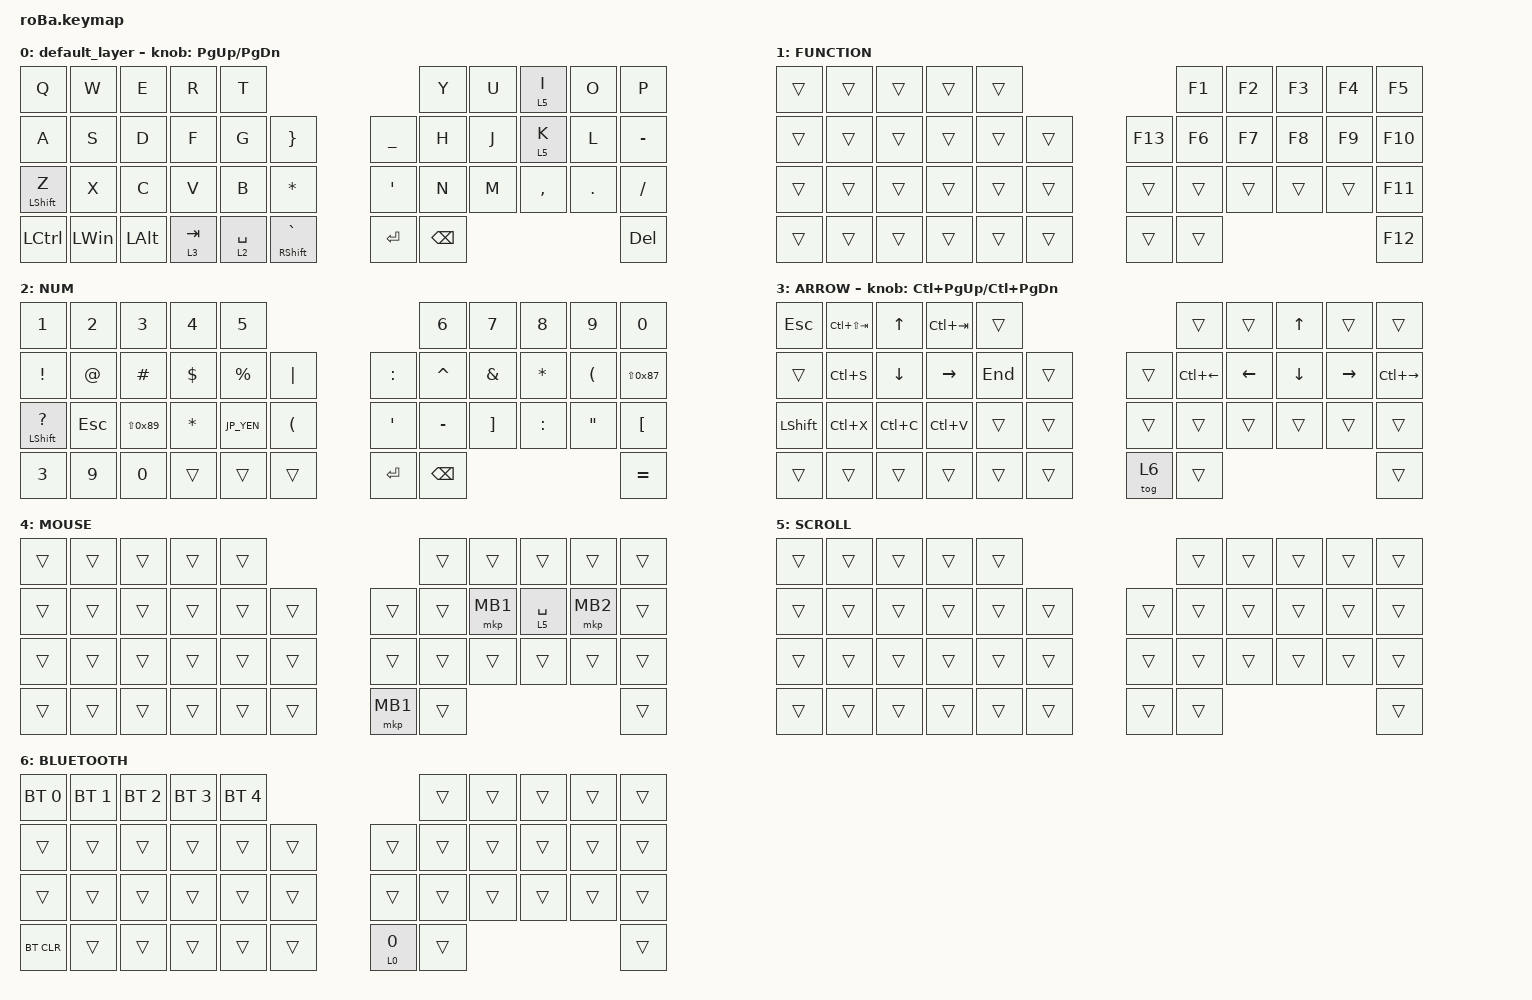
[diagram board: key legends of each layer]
#include <behaviors.dtsi>
#include <dt-bindings/zmk/bt.h>
#include <dt-bindings/zmk/keys.h>
#include <dt-bindings/zmk/pointing.h>

// OS設定を日本語キーボードのまま使用するための変換定義

#define JP_DQUOTE       AT                // "
#define JP_AMPERSAND    CARET             // &
#define JP_QUOTE        AMPERSAND         // '
#define JP_EQUAL        UNDER             // =
#define JP_CARET        EQUAL             // ^
#define JP_YEN          0x89              // ¥
#define JP_PLUS         COLON             // +
#define JP_TILDE        PLUS              // ~
#define JP_PIPE         LS(0x89)          // |
#define JP_AT           LEFT_BRACKET      // @
#define JP_COLON        SINGLE_QUOTE      // :
#define JP_ASTERISK     DOUBLE_QUOTES     // *
#define JP_BACKQUOTE    LEFT_BRACE        // `
#define JP_UNDERSCORE   LS(0x87)          // _
#define JP_LBRACKET     RIGHT_BRACKET     // [
#define JP_RBRACKET     BACKSLASH         // ]
#define JP_LPAREN       ASTERISK          // (
#define JP_RPAREN       LEFT_PARENTHESIS  // )
#define JP_LBRACE       RIGHT_BRACE       // {
#define JP_RBRACE       PIPE              // }
#define JP_KANA         LANGUAGE_1        // かな
#define JP_EISU         LANGUAGE_2        // 英数
#define JP_HANZEN       GRAVE             // 半角/全角

&mt {
    flavor = "balanced";
    quick-tap-ms = <0>;
};

&trackball {
    automouse-layer = <4>;
    scroll-layers = <5>;

    arrows {
        layers = <3>;
        bindings =
            <&kp RIGHT_ARROW>,
            <&kp LEFT_ARROW>,
            <&kp UP_ARROW>,
            <&kp DOWN_ARROW>;

        tick = <10>;
        wait-ms = <5>;
        tap-ms = <5>;
    };
};

/ {
    combos {
        compatible = "zmk,combos";

        tab {
            bindings = <&kp TAB>;
            key-positions = <11 12>;
        };

        shift_tab {
            bindings = <&kp LS(TAB)>;
            key-positions = <12 13>;
        };

        muhennkann {
            bindings = <&to_layer_0 INT_MUHENKAN>;
            key-positions = <11 10>;
        };

        double_quotation {
            bindings = <&kp DOUBLE_QUOTES>;
            key-positions = <20 21>;
        };

        eq {
            bindings = <&kp EQUAL>;
            key-positions = <24 25>;
        };
    };

    macros {
        to_layer_0: to_layer_0 {
            compatible = "zmk,behavior-macro-one-param";
            #binding-cells = <1>;
            bindings = <&to 0 &macro_param_1to1 &kp MACRO_PLACEHOLDER>;
            label = "TO_LAYER_0";
        };
    };

    behaviors {
        lt_to_layer_0: lt_to_layer_0 {
            compatible = "zmk,behavior-hold-tap";
            label = "LAYER_TAP_TO_0";
            bindings = <&mo>, <&to_layer_0>;

            #binding-cells = <2>;
            tapping-term-ms = <200>;
        };
    };

    keymap {
        compatible = "zmk,keymap";

        default_layer {
            bindings = <
&kp Q             &kp W         &kp E         &kp R      &kp T                                                     &kp Y          &kp U  &lt 5 I    &kp O    &kp P
&kp A             &kp S         &kp D         &kp F      &kp G        &kp JP_LBRACE                  &kp JP_EQUAL  &kp H          &kp J  &lt 5 K    &kp L    &kp MINUS
&mt LEFT_SHIFT Z  &kp X         &kp C         &kp V      &kp B        &kp JP_LPAREN                  &kp JP_COLON  &kp N          &kp M  &kp COMMA  &kp DOT  &kp SLASH
&kp LCTRL         &kp LEFT_WIN  &kp LEFT_ALT  &lt 3 TAB  &lt 2 SPACE  &mt RIGHT_SHIFT JP_HANZEN      &kp ENTER     &kp BACKSPACE                             &kp DELETE
            >;

            sensor-bindings = <&inc_dec_kp PG_UP PAGE_DOWN>;
        };

        FUNCTION {
            bindings = <
&trans  &trans  &trans  &trans  &trans                       &kp F1  &kp F2  &kp F3  &kp F4  &kp F5
&trans  &trans  &trans  &trans  &trans  &trans      &kp F13  &kp F6  &kp F7  &kp F8  &kp F9  &kp F10
&trans  &trans  &trans  &trans  &trans  &trans      &trans   &trans  &trans  &trans  &trans  &kp F11
&trans  &trans  &trans  &trans  &trans  &trans      &trans   &trans                          &kp F12
            >;
        };

        NUM {
            bindings = <
&kp NUMBER_1             &kp NUMBER_2   &kp NUMBER_3  &kp NUMBER_4   &kp NUMBER_5                                   &kp NUMBER_6      &kp NUMBER_7       &kp NUMBER_8   &kp NUMBER_9     &kp NUMBER_0
&kp EXCLAMATION          &kp JP_DQUOTE  &kp HASH      &kp DOLLAR     &kp PERCENT   &kp JP_RBRACE      &kp JP_PLUS   &kp JP_AMPERSAND  &kp JP_QUOTE       &kp JP_LPAREN  &kp JP_RPAREN    &kp JP_UNDERSCORE
&mt LEFT_SHIFT QUESTION  &kp ESCAPE     &kp JP_PIPE   &kp JP_LPAREN  &kp JP_YEN    &kp JP_RPAREN      &kp JP_COLON  &kp MINUS         &kp RIGHT_BRACKET  &kp JP_PLUS    &kp JP_ASTERISK  &kp JP_AT
&kp NUMBER_3             &kp NUMBER_9   &kp NUMBER_0  &trans         &trans        &trans             &kp ENTER     &kp BACKSPACE                                                        &kp JP_CARET
            >;
        };

        ARROW {
            bindings = <
&kp ESCAPE      &kp LC(LS(TAB))  &kp UP_ARROW    &kp LC(TAB)      &trans                       &trans              &trans          &kp UP_ARROW    &trans           &trans
&trans          &kp LC(S)        &kp DOWN_ARROW  &kp RIGHT_ARROW  &kp END  &trans      &trans  &kp LC(LEFT_ARROW)  &kp LEFT_ARROW  &kp DOWN_ARROW  &kp RIGHT_ARROW  &kp LC(RIGHT_ARROW)
&kp LEFT_SHIFT  &kp LC(X)        &kp LC(C)       &kp LC(V)        &trans   &trans      &trans  &trans              &trans          &trans          &trans           &trans
&trans          &trans           &trans          &trans           &trans   &trans      &tog 6  &trans                                                               &trans
            >;

            sensor-bindings = <&inc_dec_kp LC(PAGE_UP) LC(PAGE_DOWN)>;
        };

        MOUSE {
            bindings = <
&trans  &trans  &trans  &trans  &trans                        &trans  &trans    &trans       &trans    &trans
&trans  &trans  &trans  &trans  &trans  &trans      &trans    &trans  &mkp MB1  &lt 5 SPACE  &mkp MB2  &trans
&trans  &trans  &trans  &trans  &trans  &trans      &trans    &trans  &trans    &trans       &trans    &trans
&trans  &trans  &trans  &trans  &trans  &trans      &mkp MB1  &trans                                   &trans
            >;
        };

        SCROLL {
            bindings = <
&trans  &trans  &trans  &trans  &trans                      &trans  &trans  &trans  &trans  &trans
&trans  &trans  &trans  &trans  &trans  &trans      &trans  &trans  &trans  &trans  &trans  &trans
&trans  &trans  &trans  &trans  &trans  &trans      &trans  &trans  &trans  &trans  &trans  &trans
&trans  &trans  &trans  &trans  &trans  &trans      &trans  &trans                          &trans
            >;
        };

        BLUETOOTH {
            bindings = <
&bt BT_SEL 0  &bt BT_SEL 1  &bt BT_SEL 2  &bt BT_SEL 3  &bt BT_SEL 4                                         &trans  &trans  &trans  &trans  &trans
&trans        &trans        &trans        &trans        &trans        &trans      &trans                     &trans  &trans  &trans  &trans  &trans
&trans        &trans        &trans        &trans        &trans        &trans      &trans                     &trans  &trans  &trans  &trans  &trans
&bt BT_CLR    &trans        &trans        &trans        &trans        &trans      &lt_to_layer_0 0 NUMBER_0  &trans                          &trans
            >;
        };
    };
};
